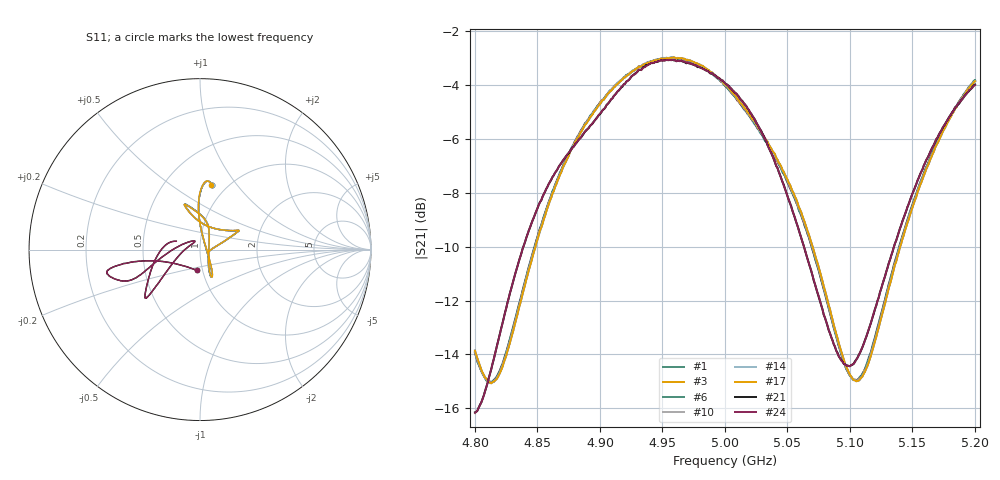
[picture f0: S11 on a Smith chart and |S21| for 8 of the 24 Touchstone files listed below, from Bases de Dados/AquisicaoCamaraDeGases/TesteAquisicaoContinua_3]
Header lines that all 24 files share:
! Network Analyzer HP8722D
! Hewlett-Packard
! Data name: Linha & Wilkinson
! Saver's name: Rodrigo Anjos
! Comments: Teste da utilização de aquisição
! continua pelo VNA HP8722D
!  Frequency  S11  S21  S12  S22
# HZ  S  MA R 50
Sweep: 4.8 GHz to 5.2 GHz
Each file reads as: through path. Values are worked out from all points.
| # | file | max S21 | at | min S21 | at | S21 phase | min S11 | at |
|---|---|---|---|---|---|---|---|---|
| 1 | teste_arseco&borbulhador_90Acetona_40.S2P | -2.98 dB | 4.959 GHz | -15.0 dB | 4.811 GHz | -90 deg at 5 GHz | -29.1 dB | 4.878 GHz |
| 2 | teste_arseco&borbulhador_90Acetona_41.S2P | -2.99 dB | 4.957 GHz | -15.0 dB | 4.812 GHz | -90 deg at 5 GHz | -29.1 dB | 4.878 GHz |
| 3 | teste_arseco&borbulhador_90Acetona_42.S2P | -2.99 dB | 4.957 GHz | -15.1 dB | 4.813 GHz | -90 deg at 5 GHz | -28.9 dB | 4.878 GHz |
| 4 | teste_arseco&borbulhador_90Acetona_43.S2P | -2.99 dB | 4.957 GHz | -15.1 dB | 4.812 GHz | -89 deg at 5 GHz | -29.0 dB | 4.878 GHz |
| 5 | teste_arseco&borbulhador_90Acetona_44.S2P | -2.98 dB | 4.957 GHz | -15.0 dB | 4.812 GHz | -90 deg at 5 GHz | -28.9 dB | 4.878 GHz |
| 6 | teste_arseco&borbulhador_90Acetona_45.S2P | -2.97 dB | 4.957 GHz | -15.1 dB | 4.812 GHz | -89 deg at 5 GHz | -28.8 dB | 4.878 GHz |
| 7 | teste_arseco&borbulhador_90Acetona_46.S2P | -2.98 dB | 4.959 GHz | -15.1 dB | 4.812 GHz | -89 deg at 5 GHz | -28.9 dB | 4.878 GHz |
| 8 | teste_arseco&borbulhador_90Acetona_47.S2P | -2.97 dB | 4.957 GHz | -15.0 dB | 4.813 GHz | -89 deg at 5 GHz | -28.8 dB | 4.878 GHz |
| 9 | teste_arseco&borbulhador_90Acetona_48.S2P | -2.97 dB | 4.957 GHz | -15.0 dB | 4.813 GHz | -89 deg at 5 GHz | -28.8 dB | 4.878 GHz |
| 10 | teste_arseco&borbulhador_90Acetona_49.S2P | -2.98 dB | 4.957 GHz | -15.1 dB | 4.813 GHz | -89 deg at 5 GHz | -28.7 dB | 4.878 GHz |
| 11 | teste_arseco&borbulhador_90Acetona_50.S2P | -2.97 dB | 4.959 GHz | -15.1 dB | 4.813 GHz | -89 deg at 5 GHz | -28.7 dB | 4.878 GHz |
| 12 | teste_arseco&borbulhador_90Acetona_51.S2P | -2.97 dB | 4.956 GHz | -15.0 dB | 4.812 GHz | -89 deg at 5 GHz | -28.7 dB | 4.878 GHz |
| 13 | teste_arseco&borbulhador_90Acetona_52.S2P | -2.97 dB | 4.959 GHz | -15.1 dB | 4.813 GHz | -89 deg at 5 GHz | -28.7 dB | 4.878 GHz |
| 14 | teste_arseco&borbulhador_90Acetona_53.S2P | -2.98 dB | 4.959 GHz | -15.1 dB | 4.812 GHz | -89 deg at 5 GHz | -28.6 dB | 4.878 GHz |
| 15 | teste_arseco&borbulhador_90Acetona_54.S2P | -2.97 dB | 4.957 GHz | -15.0 dB | 4.815 GHz | -89 deg at 5 GHz | -28.7 dB | 4.878 GHz |
| 16 | teste_arseco&borbulhador_90Acetona_55.S2P | -2.97 dB | 4.959 GHz | -15.1 dB | 4.812 GHz | -89 deg at 5 GHz | -28.7 dB | 4.878 GHz |
| 17 | teste_arseco&borbulhador_90Acetona_56.S2P | -2.97 dB | 4.959 GHz | -15.1 dB | 4.813 GHz | -89 deg at 5 GHz | -28.6 dB | 4.878 GHz |
| 18 | teste_arseco&borbulhador_90Acetona_57.S2P | -2.97 dB | 4.957 GHz | -15.1 dB | 4.813 GHz | -89 deg at 5 GHz | -28.6 dB | 4.878 GHz |
| 19 | teste_arseco&borbulhador_90Acetona_58.S2P | -2.98 dB | 4.956 GHz | -15.1 dB | 4.815 GHz | -89 deg at 5 GHz | -28.6 dB | 4.878 GHz |
| 20 | teste_arseco&borbulhador_90Acetona_59.S2P | -2.97 dB | 4.957 GHz | -15.1 dB | 4.813 GHz | -89 deg at 5 GHz | -28.6 dB | 4.878 GHz |
| 21 | teste_arseco&borbulhador_90Acetona_76.S2P | -3.06 dB | 4.957 GHz | -16.2 dB | 4.8 GHz | 142 deg at 5 GHz | -25.3 dB | 4.997 GHz |
| 22 | teste_arseco&borbulhador_90Acetona_77.S2P | -3.05 dB | 4.958 GHz | -16.2 dB | 4.8 GHz | 142 deg at 5 GHz | -25.3 dB | 4.994 GHz |
| 23 | teste_arseco&borbulhador_90Acetona_78.S2P | -3.04 dB | 4.957 GHz | -16.2 dB | 4.8 GHz | 142 deg at 5 GHz | -25.3 dB | 4.995 GHz |
| 24 | teste_arseco&borbulhador_90Acetona_79.S2P | -3.06 dB | 4.958 GHz | -16.2 dB | 4.8 GHz | 142 deg at 5 GHz | -25.4 dB | 4.995 GHz |
